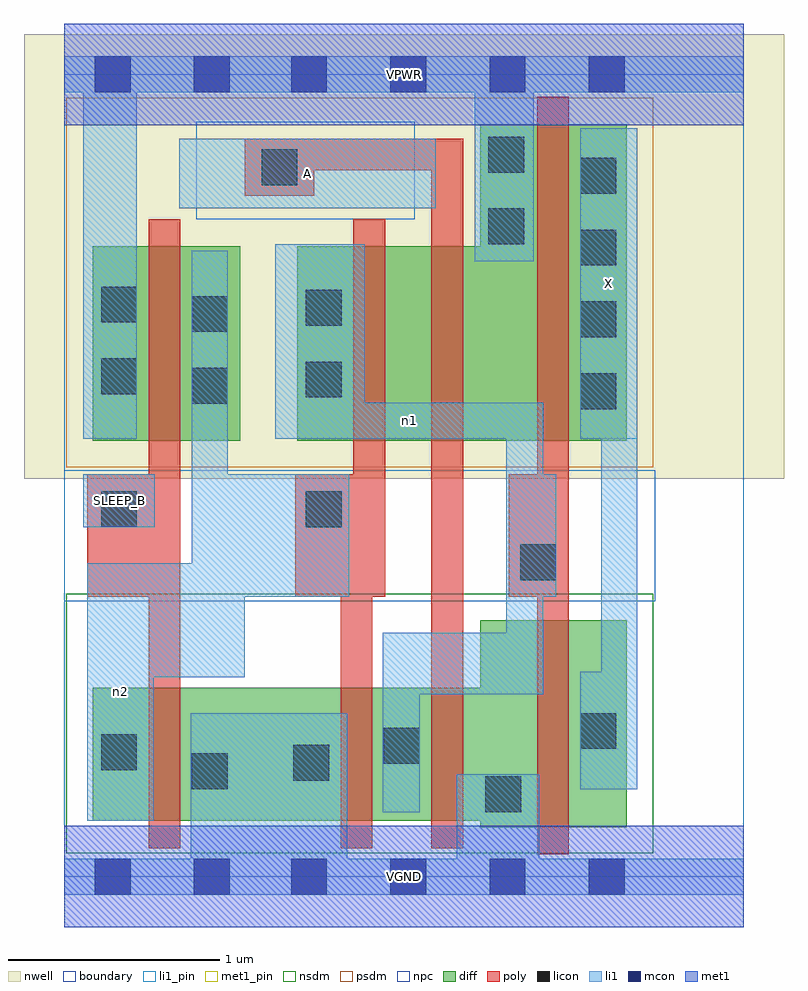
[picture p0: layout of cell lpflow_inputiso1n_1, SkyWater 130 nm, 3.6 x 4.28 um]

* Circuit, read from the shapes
.subckt lpflow_inputiso1n_1 A SLEEP_B VGND VPWR X n1 n2
XM1 VGND SLEEP_B n2 VSUBS sky130_fd_pr__nfet_01v8 w=0.63 l=0.15
XM2 n1 n2 VGND VSUBS sky130_fd_pr__nfet_01v8 w=0.63 l=0.15
XM3 VGND A n1 VSUBS sky130_fd_pr__nfet_01v8 w=0.63 l=0.15
XM4 X n1 VGND VSUBS sky130_fd_pr__nfet_01v8 w=0.98 l=0.15
XM5 n2 SLEEP_B VPWR n3 sky130_fd_pr__pfet_01v8 w=0.92 l=0.15
XM6 n4 n2 n1 n3 sky130_fd_pr__pfet_01v8 w=0.92 l=0.15
XM7 VPWR A n4 n3 sky130_fd_pr__pfet_01v8 w=0.92 l=0.15
XM8 X n1 VPWR n3 sky130_fd_pr__pfet_01v8 w=1.5 l=0.15
.ends

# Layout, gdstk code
import gdstk
lib = gdstk.Library(unit=1e-6, precision=1e-09)
def R(c, l, rs):  # rectangles x0, y0, x1, y1
    for r in rs: c.add(gdstk.rectangle(r[:2], r[2:], *l))
def A(c, l, x, y, w, h, nx, ny, dx, dy):  # array of equal rectangles
    R(c, l, [(x+i*dx, y+j*dy, x+i*dx+w, y+j*dy+h) for i in range(nx) for j in range(ny)])
nwell = (64, 20)
diff = (65, 20)
poly = (66, 20)
licon = (66, 44)
li1_pin = (67, 16)
li1 = (67, 20)
mcon = (67, 44)
met1_pin = (68, 16)
met1 = (68, 20)
nsdm = (93, 44)
psdm = (94, 20)
npc = (95, 20)
boundary = (235, 4)

lpflow_inputiso1n_1 = lib.new_cell('lpflow_inputiso1n_1')
R(lpflow_inputiso1n_1, nwell, [(-0.19,1.885,3.41,3.99), (0,1.885,3.22,3.99)])
R(lpflow_inputiso1n_1, diff, [(1.97,0.235,2.665,1.215), (0.135,0.265,2.665,0.895), (0.135,2.065,0.835,2.985), (1.105,2.065,2.665,2.985), (1.97,2.065,2.665,3.565)])
R(lpflow_inputiso1n_1, poly, [(2.24,0.105,2.39,3.695), (0.4,0.135,0.55,3.115), (1.31,0.135,1.46,1.905), (1.74,0.135,1.89,3.495), (0.11,1.325,0.55,1.905), (1.095,1.325,1.52,1.905), (1.37,1.325,1.52,3.115), (2.105,1.325,2.39,1.905), (0.855,3.225,1.185,3.495), (0.855,3.345,1.89,3.495)])
A(lpflow_inputiso1n_1, licon, 2.445, 2.215, 0.17, 0.17, 1, 4, 0, 0.34)
R(lpflow_inputiso1n_1, licon, [(1.995,0.305,2.165,0.475), (0.605,0.415,0.775,0.585), (1.085,0.455,1.255,0.625), (0.175,0.505,0.345,0.675), (1.515,0.535,1.685,0.705), (2.445,0.605,2.615,0.775), (2.16,1.405,2.33,1.575), (0.175,1.655,0.345,1.825), (1.145,1.655,1.315,1.825), (0.605,2.24,0.775,2.41), (1.145,2.27,1.315,2.44), (0.175,2.285,0.345,2.455), (0.605,2.58,0.775,2.75), (1.145,2.61,1.315,2.78), (0.175,2.625,0.345,2.795), (2.01,2.995,2.18,3.165), (0.935,3.275,1.105,3.445), (2.01,3.335,2.18,3.505)])
R(lpflow_inputiso1n_1, li1_pin, [(0.09,1.655,0.43,1.905), (2.445,2.075,2.715,3.545), (0.545,3.165,1.76,3.495)])
R(lpflow_inputiso1n_1, li1, [(0,-0.085,3.22,0.085), (0.6,-0.085,1.34,0.775), (1.86,-0.085,2.25,0.485), (0.11,0.265,0.425,1.485), (1.51,0.305,1.685,1.155), (2.445,0.415,2.715,0.97), (2.545,0.415,2.715,3.545), (1.51,0.865,2.27,1.155), (2.095,0.865,2.27,2.245), (0.11,0.945,0.855,1.485), (0.605,0.945,0.775,2.965), (0.605,0.945,0.855,1.905), (0.605,1.325,1.35,1.905), (2.095,1.325,2.33,1.905), (0.09,1.655,0.43,1.905), (0.09,2.075,0.345,3.885), (1,2.075,2.27,2.245), (1,2.075,1.425,2.995), (2.445,2.075,2.715,3.545), (1.945,2.915,2.225,3.885), (0.545,3.165,1.76,3.495), (0,3.715,3.22,3.885)])
A(lpflow_inputiso1n_1, mcon, 1.075, -0.085, 0.17, 0.17, 4, 2, 0.47, 3.8)
R(lpflow_inputiso1n_1, mcon, [(0.145,-0.085,0.315,0.085), (0.615,-0.085,0.785,0.085), (0.145,3.715,0.315,3.885), (0.615,3.715,0.785,3.885)])
R(lpflow_inputiso1n_1, met1_pin, [(0,-0.24,3.22,0.24), (0,3.56,3.22,4.04)])
R(lpflow_inputiso1n_1, met1, [(0,-0.24,3.22,0.24), (0,3.56,3.22,4.04)])
R(lpflow_inputiso1n_1, nsdm, [(0.01,0.11,2.79,1.34)])
R(lpflow_inputiso1n_1, psdm, [(0.01,1.94,2.79,3.69)])
R(lpflow_inputiso1n_1, npc, [(0,1.305,2.8,1.925), (0.625,3.115,1.66,3.575)])
R(lpflow_inputiso1n_1, boundary, [(0,0,3.22,3.8)])
lpflow_inputiso1n_1.add(gdstk.Label('A', (1.152,3.33), layer=67, texttype=5))
lpflow_inputiso1n_1.add(gdstk.Label('SLEEP_B', (0.26,1.78), layer=67, texttype=5))
lpflow_inputiso1n_1.add(gdstk.Label('X', (2.58,2.81), layer=67, texttype=5))
lpflow_inputiso1n_1.add(gdstk.Label('n2', (0.267,0.875), layer=67, texttype=5))
lpflow_inputiso1n_1.add(gdstk.Label('n1', (1.635,2.16), layer=67, texttype=5))
lpflow_inputiso1n_1.add(gdstk.Label('VPWR', (1.61,3.8), layer=68, texttype=5))
lpflow_inputiso1n_1.add(gdstk.Label('VGND', (1.61,0), layer=68, texttype=5))
lpflow_inputiso1n_1.add(gdstk.Label('A', (1.152,3.33), layer=67, texttype=16))
lpflow_inputiso1n_1.add(gdstk.Label('SLEEP_B', (0.26,1.78), layer=67, texttype=16))
lpflow_inputiso1n_1.add(gdstk.Label('X', (2.58,2.81), layer=67, texttype=16))
lpflow_inputiso1n_1.add(gdstk.Label('VPWR', (1.61,3.8), layer=68, texttype=16))
lpflow_inputiso1n_1.add(gdstk.Label('VGND', (1.61,0), layer=68, texttype=16))

lib.write_gds('lpflow_inputiso1n_1.gds')
